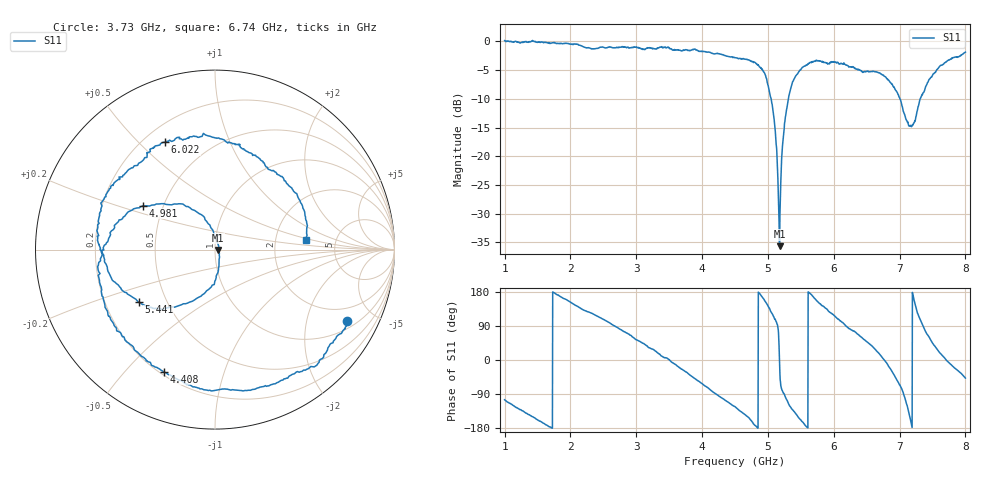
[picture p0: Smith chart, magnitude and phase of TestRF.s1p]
# GHz S MA R 50
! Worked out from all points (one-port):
!   1601 points, 1 GHz to 8 GHz, reference 50 ohm
!   lowest |S11| = -35.7 dB at 5.178 GHz (marker M1), VSWR 1.03, Z = 51.7 - j0.163 ohm
!   |S11| at or under -10 dB: 5.049 GHz to 5.31 GHz (261.7 MHz wide, 5.05 % of centre); 7.005 GHz to 7.313 GHz (307.7 MHz wide, 4.3 % of centre)
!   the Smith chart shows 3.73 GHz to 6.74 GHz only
!   S11 on the Smith chart (normalised r, x): 3.73 GHz: 1.31, -3.47; 4.408 GHz: 0.22, -0.64; 4.981 GHz: 0.38, +0.24; 5.441 GHz: 0.35, -0.28; 6.022 GHz: 0.28, +0.60; 6.74 GHz: 3.02, +0.43
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1  1.017 -105.0
1.44625  1.002 -151.9
1.875  0.9543 164.5
2.176875  0.9118 134.1
2.75  0.8895 81.6
3.200625  0.8806 32.1
3.625  0.8464 -16.1
3.73  0.8363 -28.6
4.07125  0.8077 -71.5
4.408125  0.7377 -112.8
4.5  0.7207 -123.1
4.793125  0.6605 -170.9
4.98125  0.4704 148.7
5.08625  0.225 114.7
5.178125  0.01645 -5.5
5.256875  0.1987 -94.5
5.375  0.445 -131.5
5.440625  0.5169 -145.5
5.685625  0.662 167.2
6.0225  0.6602 114.9
6.25  0.6015 81.4
6.74  0.5108 5.9
6.954375  0.367 -51.7
7.125  0.1989 -126.3
7.278125  0.263 121.9
7.4575  0.4722 57.6
7.715625  0.6686 -1.5
8  0.8067 -47.7
